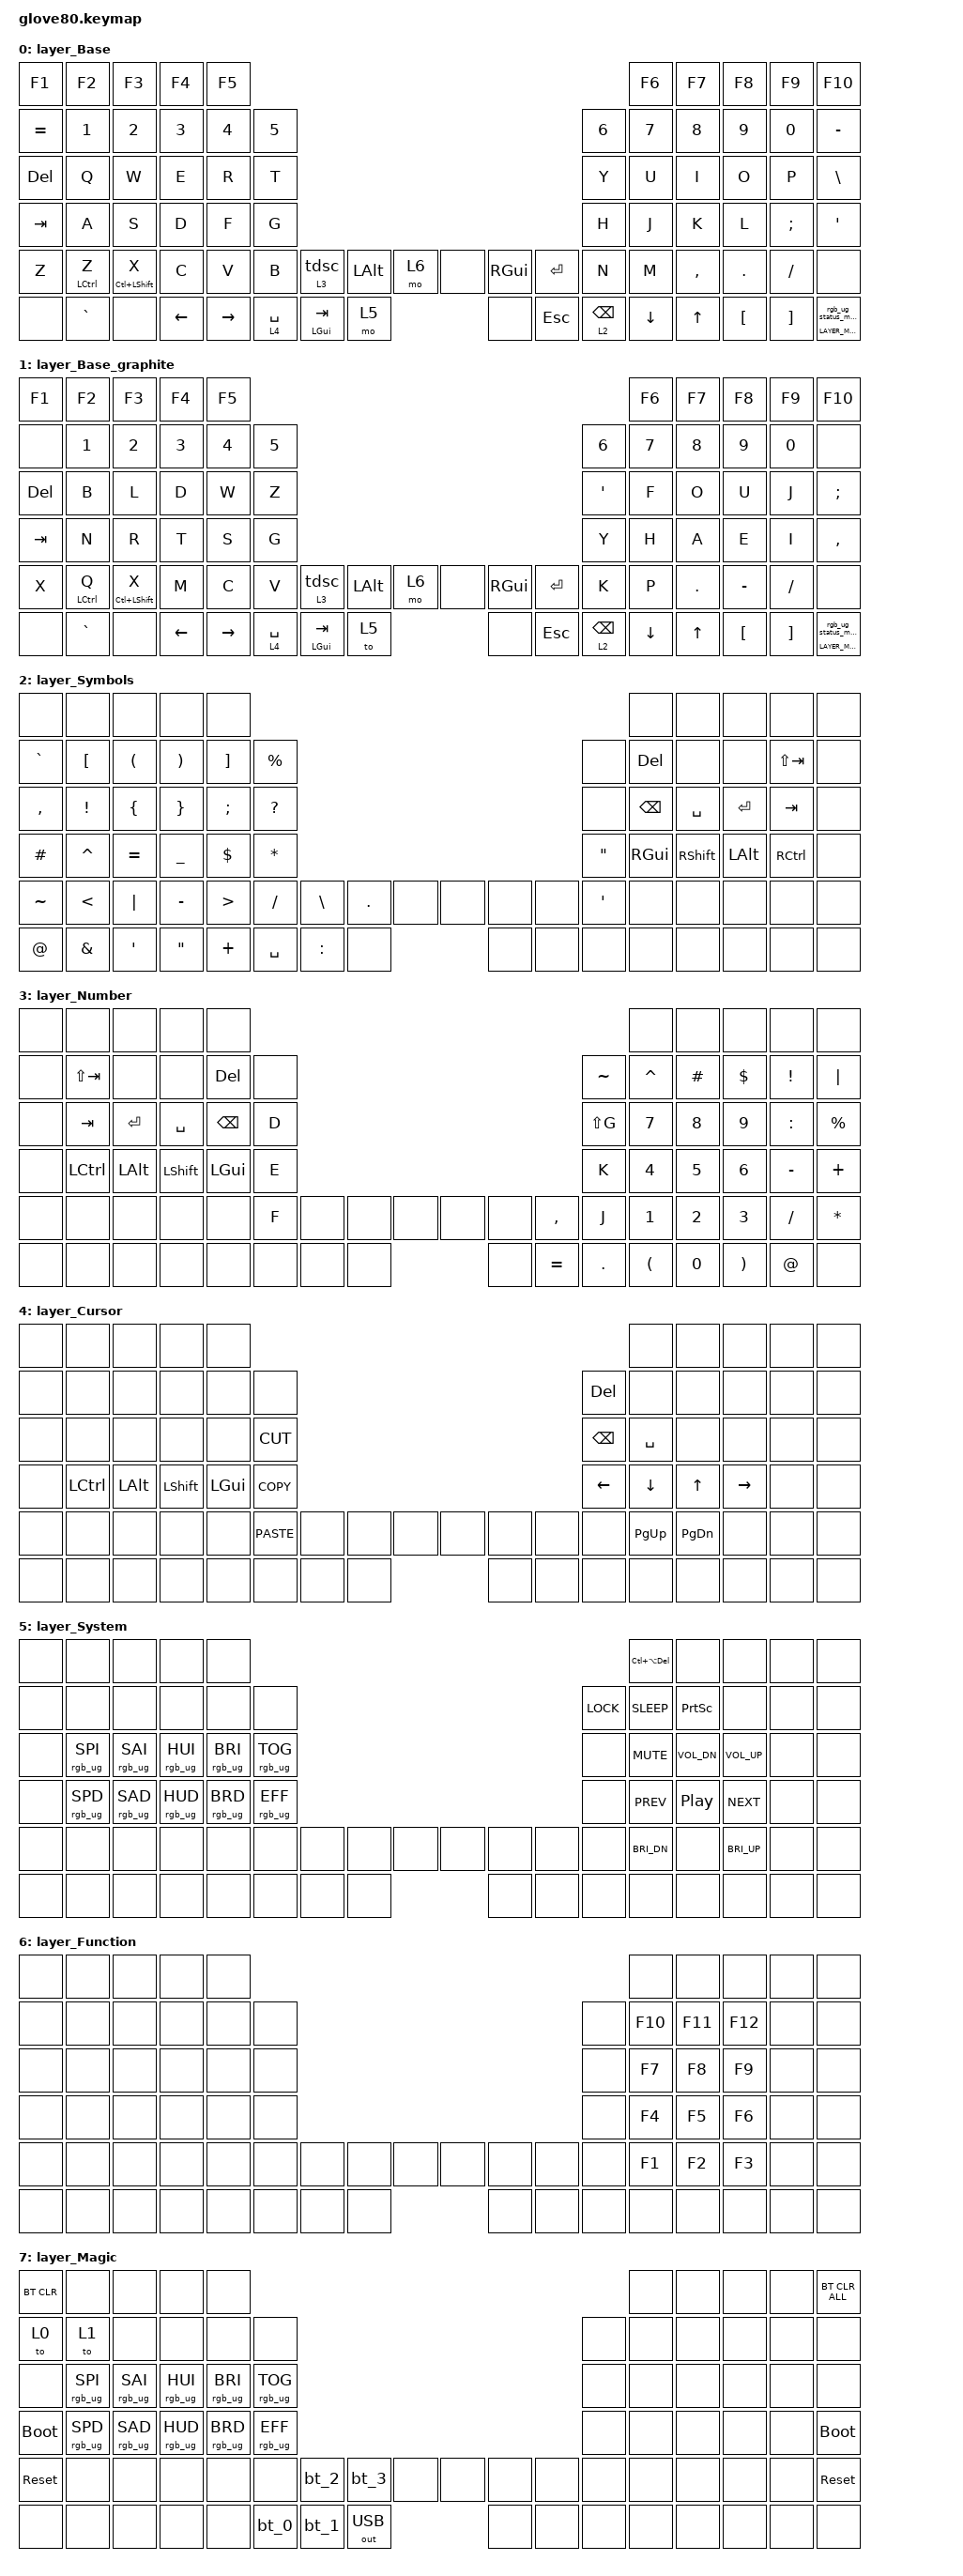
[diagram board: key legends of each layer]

/*
 * Copyright (c) 2020 The ZMK Contributors
 * Copyright (c) 2023 Innaworks Development Limited, trading as MoErgo
 *
 * SPDX-License-Identifier: MIT
 */


/* THIS FILE WAS GENERATED BY GLOVE80 LAYOUT EDITOR
 *
 * This file was generated automatically. You may or may not want to
 * edit it directly.
 */

#include <behaviors.dtsi>
/* Include all behavior includes needed */
#include <dt-bindings/zmk/outputs.h>
#include <dt-bindings/zmk/keys.h>
#include <dt-bindings/zmk/bt.h>
#include <dt-bindings/zmk/rgb.h>

/* Automatically generated layer name #define */
#define LAYER_Base 0
#define LAYER_Base_graphite 1
#define LAYER_Symbols 2
#define LAYER_Number 3
#define LAYER_Cursor 4
#define LAYER_System 5
#define LAYER_Function 6
#define LAYER_Magic 7

/* To deal with the situation where there is no Lower layer, to keep &lower happy */
#ifndef LAYER_Lower
#define LAYER_Lower 0
#endif

/* Custom Device-tree */



/* Glove80 system behavior & macros */
/ {
    behaviors {
        // For the "layer" key, it'd nice to be able to use it as either a shift or a toggle.
        // Configure it as a tap dance, so the first tap (or hold) is a &mo and the second tap is a &to
        lower: lower {
            compatible = "zmk,behavior-tap-dance";
            label = "LAYER_TAP_DANCE";
            #binding-cells = <0>;
            tapping-term-ms = <200>;
            bindings = <&mo LAYER_Lower>, <&to LAYER_Lower>;
        };
    };
};

/ {
    macros {
        rgb_ug_status_macro: rgb_ug_status_macro {
            label = "RGB_UG_STATUS";
            compatible = "zmk,behavior-macro";
            #binding-cells = <0>;
            bindings
                = <&rgb_ug RGB_STATUS>;
        };
    };
};


/ {
#ifdef BT_DISC_CMD
    behaviors {
        bt_0: bt_0 {
            compatible = "zmk,behavior-tap-dance";
            label = "BT_0";
            #binding-cells = <0>;
            tapping-term-ms = <200>;
            bindings = <&bt_select_0>, <&bt BT_DISC 0>;
        };
        bt_1: bt_1 {
            compatible = "zmk,behavior-tap-dance";
            label = "BT_1";
            #binding-cells = <0>;
            tapping-term-ms = <200>;
            bindings = <&bt_select_1>, <&bt BT_DISC 1>;
        };
        bt_2: bt_2 {
            compatible = "zmk,behavior-tap-dance";
            label = "BT_2";
            #binding-cells = <0>;
            tapping-term-ms = <200>;
            bindings = <&bt_select_2>, <&bt BT_DISC 2>;
        };
        bt_3: bt_3 {
            compatible = "zmk,behavior-tap-dance";
            label = "BT_3";
            #binding-cells = <0>;
            tapping-term-ms = <200>;
            bindings = <&bt_select_3>, <&bt BT_DISC 3>;
        };
    };
    macros {
        bt_select_0: bt_select_0 {
            label = "BT_SELECT_0";
            compatible = "zmk,behavior-macro";
            #binding-cells = <0>;
            bindings
                = <&out OUT_BLE>,
                  <&bt BT_SEL 0>;
        };
        bt_select_1: bt_select_1 {
            label = "BT_SELECT_1";
            compatible = "zmk,behavior-macro";
            #binding-cells = <0>;
            bindings
                = <&out OUT_BLE>,
                  <&bt BT_SEL 1>;
        };
        bt_select_2: bt_select_2 {
            label = "BT_SELECT_2";
            compatible = "zmk,behavior-macro";
            #binding-cells = <0>;
            bindings
                = <&out OUT_BLE>,
                  <&bt BT_SEL 2>;
        };
        bt_select_3: bt_select_3 {
            label = "BT_SELECT_3";
            compatible = "zmk,behavior-macro";
            #binding-cells = <0>;
            bindings
                = <&out OUT_BLE>,
                  <&bt BT_SEL 3>;
        };
    };
#else
    macros {
        bt_0: bt_0 {
            label = "BT_0";
            compatible = "zmk,behavior-macro";
            #binding-cells = <0>;
            bindings
                = <&out OUT_BLE>,
                  <&bt BT_SEL 0>;
        };
        bt_1: bt_1 {
            label = "BT_1";
            compatible = "zmk,behavior-macro";
            #binding-cells = <0>;
            bindings
                = <&out OUT_BLE>,
                  <&bt BT_SEL 1>;
        };
        bt_2: bt_2 {
            label = "BT_2";
            compatible = "zmk,behavior-macro";
            #binding-cells = <0>;
            bindings
                = <&out OUT_BLE>,
                  <&bt BT_SEL 2>;
        };
        bt_3: bt_3 {
            label = "BT_3";
            compatible = "zmk,behavior-macro";
            #binding-cells = <0>;
            bindings
                = <&out OUT_BLE>,
                  <&bt BT_SEL 3>;
        };
    };
#endif
};

/ {
    behaviors {
        magic: magic {
            compatible = "zmk,behavior-hold-tap";
            label = "MAGIC_HOLD_TAP";
            #binding-cells = <2>;
            flavor = "tap-preferred";
            tapping-term-ms = <200>;
            bindings = <&mo>, <&rgb_ug_status_macro>;
        };
    };
};

/* #define for key positions */
#define POS_LH_T1 52
#define POS_LH_T2 53
#define POS_LH_T3 54
#define POS_LH_T4 69
#define POS_LH_T5 70
#define POS_LH_T6 71
#define POS_LH_C1R2 15
#define POS_LH_C1R3 27
#define POS_LH_C1R4 39
#define POS_LH_C1R5 51
#define POS_LH_C2R1 4
#define POS_LH_C2R2 14
#define POS_LH_C2R3 26
#define POS_LH_C2R4 38
#define POS_LH_C2R5 50
#define POS_LH_C2R6 68
#define POS_LH_C3R1 3
#define POS_LH_C3R2 13
#define POS_LH_C3R3 25
#define POS_LH_C3R4 37
#define POS_LH_C3R5 49
#define POS_LH_C3R6 67
#define POS_LH_C4R1 2
#define POS_LH_C4R2 12
#define POS_LH_C4R3 24
#define POS_LH_C4R4 36
#define POS_LH_C4R5 48
#define POS_LH_C4R6 66
#define POS_LH_C5R1 1
#define POS_LH_C5R2 11
#define POS_LH_C5R3 23
#define POS_LH_C5R4 35
#define POS_LH_C5R5 47
#define POS_LH_C5R6 65
#define POS_LH_C6R1 0
#define POS_LH_C6R2 10
#define POS_LH_C6R3 22
#define POS_LH_C6R4 34
#define POS_LH_C6R5 46
#define POS_LH_C6R6 64
#define POS_RH_T1 57
#define POS_RH_T2 56
#define POS_RH_T3 55
#define POS_RH_T4 74
#define POS_RH_T5 73
#define POS_RH_T6 72
#define POS_RH_C1R2 16
#define POS_RH_C1R3 28
#define POS_RH_C1R4 40
#define POS_RH_C1R5 58
#define POS_RH_C2R1 5
#define POS_RH_C2R2 17
#define POS_RH_C2R3 29
#define POS_RH_C2R4 41
#define POS_RH_C2R5 59
#define POS_RH_C2R6 75
#define POS_RH_C3R1 6
#define POS_RH_C3R2 18
#define POS_RH_C3R3 30
#define POS_RH_C3R4 42
#define POS_RH_C3R5 60
#define POS_RH_C3R6 76
#define POS_RH_C4R1 7
#define POS_RH_C4R2 19
#define POS_RH_C4R3 31
#define POS_RH_C4R4 43
#define POS_RH_C4R5 61
#define POS_RH_C4R6 77
#define POS_RH_C5R1 8
#define POS_RH_C5R2 20
#define POS_RH_C5R3 32
#define POS_RH_C5R4 44
#define POS_RH_C5R5 62
#define POS_RH_C5R6 78
#define POS_RH_C6R1 9
#define POS_RH_C6R2 21
#define POS_RH_C6R3 33
#define POS_RH_C6R4 45
#define POS_RH_C6R5 63
#define POS_RH_C6R6 79

/* Custom Defined Behaviors */
/ {
behaviors {
        skq: stickey_key_quick_release {
            compatible = "zmk,behavior-sticky-key";
            #binding-cells = <1>;
            release-after-ms = <1000>;
            bindings = <&kp>;
            quick-release;
            ignore-modifiers;
        };

        tdsc: tap_dance_shift_capsword {
            compatible = "zmk,behavior-tap-dance";
            #binding-cells = <0>;
            bindings = <&skq LSHIFT>, <&caps_word>;
            tapping-term-ms = <200>;
        };

        holdtapdance: holdtapdance {
            compatible = "zmk,behavior-hold-tap";
            #binding-cells = <2>;
            bindings = <&mo>, <&tdsc>;
            tapping-term-ms = <200>;
            quick-tap-ms = <300>;
            require-prior-idle-ms = <100>;
            flavor = "tap-preferred";
        };
    };
};

/* Automatically generated macro definitions */
/ {
    macros {

    };
};

/* Automatically generated behavior definitions */
/ {
    behaviors {

        HOLD_TAP_KP: HOLD_TAP_KP {
            compatible = "zmk,behavior-hold-tap";
            #binding-cells = <2>;
            tapping-term-ms = <200>;
            bindings = <&kp>, <&kp>;
            flavor = "balanced";
            quick-tap-ms = <300>;
            require-prior-idle-ms = <100>;
        };

        LAYER_THUMB: LAYER_THUMB {
            compatible = "zmk,behavior-hold-tap";
            #binding-cells = <2>;
            tapping-term-ms = <200>;
            bindings = <&mo>, <&kp>;
            flavor = "tap-preferred";
            quick-tap-ms = <300>;
            require-prior-idle-ms = <100>;
        };

        MT_balanced: MT_balanced {
            compatible = "zmk,behavior-hold-tap";
            #binding-cells = <2>;
            tapping-term-ms = <200>;
            bindings = <&kp>, <&kp>;
            flavor = "balanced";
            quick-tap-ms = <200>;
            require-prior-idle-ms = <150>;
        };
    };
};

/* Automatically generated combos definitions */


/* Automatically generated keymap */
/ {
    keymap {
        compatible = "zmk,keymap";


        layer_Base {
            bindings = <
    &kp F1                &kp F2                    &kp F3    &kp F4     &kp F5                                                                                                                &kp F6     &kp F7    &kp F8    &kp F9               &kp F10
 &kp EQUAL                &kp N1                    &kp N2    &kp N3     &kp N4  &kp N5                                                                                              &kp N6    &kp N7     &kp N8    &kp N9    &kp N0             &kp MINUS
   &kp DEL                 &kp Q                     &kp W     &kp E      &kp R   &kp T                                                                                               &kp Y     &kp U      &kp I     &kp O     &kp P              &kp BSLH
   &kp TAB                 &kp A                     &kp S     &kp D      &kp F   &kp G                                                                                               &kp H     &kp J      &kp K     &kp L  &kp SEMI               &kp SQT
     &kp Z  &MT_balanced LCTRL Z  &MT_balanced LC(LSHFT) X     &kp C      &kp V   &kp B     &holdtapdance 3 0               &kp LALT   &mo 6   &none  &kp RGUI              &kp RET   &kp N     &kp M  &kp COMMA   &kp DOT  &kp FSLH                 &none
     &none             &kp GRAVE                     &none  &kp LEFT  &kp RIGHT          &LAYER_THUMB 4 SPACE  &HOLD_TAP_KP LGUI TAB   &mo 5   &none   &kp ESC  &LAYER_THUMB 2 BSPC          &kp DOWN     &kp UP  &kp LBKT  &kp RBKT  &magic LAYER_Magic 0
            >;
        };

        layer_Base_graphite {
            bindings = <
  &kp F1                &kp F2                    &kp F3    &kp F4     &kp F5                                                                                                                 &kp F6   &kp F7     &kp F8    &kp F9               &kp F10
   &none                &kp N1                    &kp N2    &kp N3     &kp N4  &kp N5                                                                                               &kp N6    &kp N7   &kp N8     &kp N9    &kp N0                 &none
 &kp DEL                 &kp B                     &kp L     &kp D      &kp W   &kp Z                                                                                              &kp SQT     &kp F    &kp O      &kp U     &kp J              &kp SEMI
 &kp TAB                 &kp N                     &kp R     &kp T      &kp S   &kp G                                                                                                &kp Y     &kp H    &kp A      &kp E     &kp I             &kp COMMA
   &kp X  &MT_balanced LCTRL Q  &MT_balanced LC(LSHFT) X     &kp M      &kp C   &kp V     &holdtapdance 3 0               &kp LALT   &mo 6   &none  &kp RGUI              &kp RET    &kp K     &kp P  &kp DOT  &kp MINUS  &kp FSLH                 &none
   &none             &kp GRAVE                     &none  &kp LEFT  &kp RIGHT          &LAYER_THUMB 4 SPACE  &HOLD_TAP_KP LGUI TAB   &to 5   &none   &kp ESC  &LAYER_THUMB 2 BSPC           &kp DOWN   &kp UP   &kp LBKT  &kp RBKT  &magic LAYER_Magic 0
            >;
        };

        layer_Symbols {
            bindings = <
     &none      &none      &none      &none     &none                                                                               &none      &none     &none        &none   &none
 &kp GRAVE   &kp LBKT   &kp LPAR   &kp RPAR  &kp RBKT  &kp PRCNT                                                          &none   &kp DEL      &none     &none  &kp LS(TAB)   &none
 &kp COMMA   &kp EXCL   &kp LBRC   &kp RBRC  &kp SEMI  &kp QMARK                                                          &none  &kp BSPC  &kp SPACE   &kp RET      &kp TAB   &none
  &kp HASH  &kp CARET  &kp EQUAL  &kp UNDER  &kp DLLR   &kp STAR                                                        &kp DQT  &kp RGUI  &kp RSHFT  &kp LALT    &kp RCTRL   &none
 &kp TILDE     &kp LT   &kp PIPE  &kp MINUS    &kp GT   &kp FSLH   &kp BSLH    &kp DOT   &none   &none   &none   &none  &kp SQT     &none      &none     &none        &none   &none
    &kp AT   &kp AMPS    &kp SQT    &kp DQT  &kp PLUS             &kp SPACE  &kp COLON   &none   &none   &none   &none              &none      &none     &none        &none   &none
            >;
        };

        layer_Number {
            bindings = <
  &none        &none     &none      &none     &none                                                                               &none     &none     &none      &none      &none
  &none  &kp LS(TAB)     &none      &none   &kp DEL   &none                                                        &kp TILDE  &kp CARET  &kp HASH  &kp DLLR   &kp EXCL   &kp PIPE
  &none      &kp TAB   &kp RET  &kp SPACE  &kp BSPC   &kp D                                                        &kp LS(G)     &kp N7    &kp N8    &kp N9  &kp COLON  &kp PRCNT
  &none    &kp LCTRL  &kp LALT  &kp LSHFT  &kp LGUI   &kp E                                                            &kp K     &kp N4    &kp N5    &kp N6  &kp MINUS   &kp PLUS
  &none        &none     &none      &none     &none   &kp F   &none   &none   &none   &none      &none  &kp COMMA      &kp J     &kp N1    &kp N2    &kp N3   &kp FSLH   &kp STAR
  &none        &none     &none      &none     &none           &none   &none   &none   &none  &kp EQUAL    &kp DOT              &kp LPAR    &kp N0  &kp RPAR     &kp AT      &none
            >;
        };

        layer_Cursor {
            bindings = <
  &none      &none     &none      &none     &none                                                                             &none      &none      &none   &none   &none
  &none      &none     &none      &none     &none        &none                                                   &kp DEL      &none      &none      &none   &none   &none
  &none      &none     &none      &none     &none    &kp K_CUT                                                  &kp BSPC  &kp SPACE      &none      &none   &none   &none
  &none  &kp LCTRL  &kp LALT  &kp LSHFT  &kp LGUI   &kp K_COPY                                                  &kp LEFT   &kp DOWN     &kp UP  &kp RIGHT   &none   &none
  &none      &none     &none      &none     &none  &kp K_PASTE   &none   &none   &none   &none   &none   &none     &none  &kp PG_UP  &kp PG_DN      &none   &none   &none
  &none      &none     &none      &none     &none                &none   &none   &none   &none   &none   &none                &none      &none      &none   &none   &none
            >;
        };

        layer_System {
            bindings = <
  &none            &none            &none            &none            &none                                                                               &kp LC(LA(DEL))         &none         &none   &none   &none
  &none            &none            &none            &none            &none            &none                                                  &kp K_LOCK      &kp C_SLEEP     &kp PSCRN         &none   &none   &none
  &none  &rgb_ug RGB_SPI  &rgb_ug RGB_SAI  &rgb_ug RGB_HUI  &rgb_ug RGB_BRI  &rgb_ug RGB_TOG                                                       &none       &kp C_MUTE  &kp C_VOL_DN  &kp C_VOL_UP   &none   &none
  &none  &rgb_ug RGB_SPD  &rgb_ug RGB_SAD  &rgb_ug RGB_HUD  &rgb_ug RGB_BRD  &rgb_ug RGB_EFF                                                       &none       &kp C_PREV      &kp C_PP    &kp C_NEXT   &none   &none
  &none            &none            &none            &none            &none            &none   &none   &none   &none   &none   &none   &none       &none     &kp C_BRI_DN         &none  &kp C_BRI_UP   &none   &none
  &none            &none            &none            &none            &none                    &none   &none   &none   &none   &none   &none                        &none         &none         &none   &none   &none
            >;
        };

        layer_Function {
            bindings = <
  &none   &none   &none   &none   &none                                                                    &none    &none    &none   &none   &none
  &none   &none   &none   &none   &none   &none                                                   &none  &kp F10  &kp F11  &kp F12   &none   &none
  &none   &none   &none   &none   &none   &none                                                   &none   &kp F7   &kp F8   &kp F9   &none   &none
  &none   &none   &none   &none   &none   &none                                                   &none   &kp F4   &kp F5   &kp F6   &none   &none
  &none   &none   &none   &none   &none   &none   &none   &none   &none   &none   &none   &none   &none   &kp F1   &kp F2   &kp F3   &none   &none
  &none   &none   &none   &none   &none           &none   &none   &none   &none   &none   &none            &none    &none    &none   &none   &none
            >;
        };

        layer_Magic {
            bindings = <
  &bt BT_CLR            &none            &none            &none            &none                                                                                  &none   &none   &none   &none  &bt BT_CLR_ALL
       &to 0            &to 1            &none            &none            &none            &none                                                         &none   &none   &none   &none   &none           &none
       &none  &rgb_ug RGB_SPI  &rgb_ug RGB_SAI  &rgb_ug RGB_HUI  &rgb_ug RGB_BRI  &rgb_ug RGB_TOG                                                         &none   &none   &none   &none   &none           &none
 &bootloader  &rgb_ug RGB_SPD  &rgb_ug RGB_SAD  &rgb_ug RGB_HUD  &rgb_ug RGB_BRD  &rgb_ug RGB_EFF                                                         &none   &none   &none   &none   &none     &bootloader
  &sys_reset            &none            &none            &none            &none            &none   &bt_2   &bt_3         &none   &none   &none   &none   &none   &none   &none   &none   &none      &sys_reset
       &none            &none            &none            &none            &none                    &bt_0   &bt_1  &out OUT_USB   &none   &none   &none           &none   &none   &none   &none           &none
            >;
        };

    };
};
